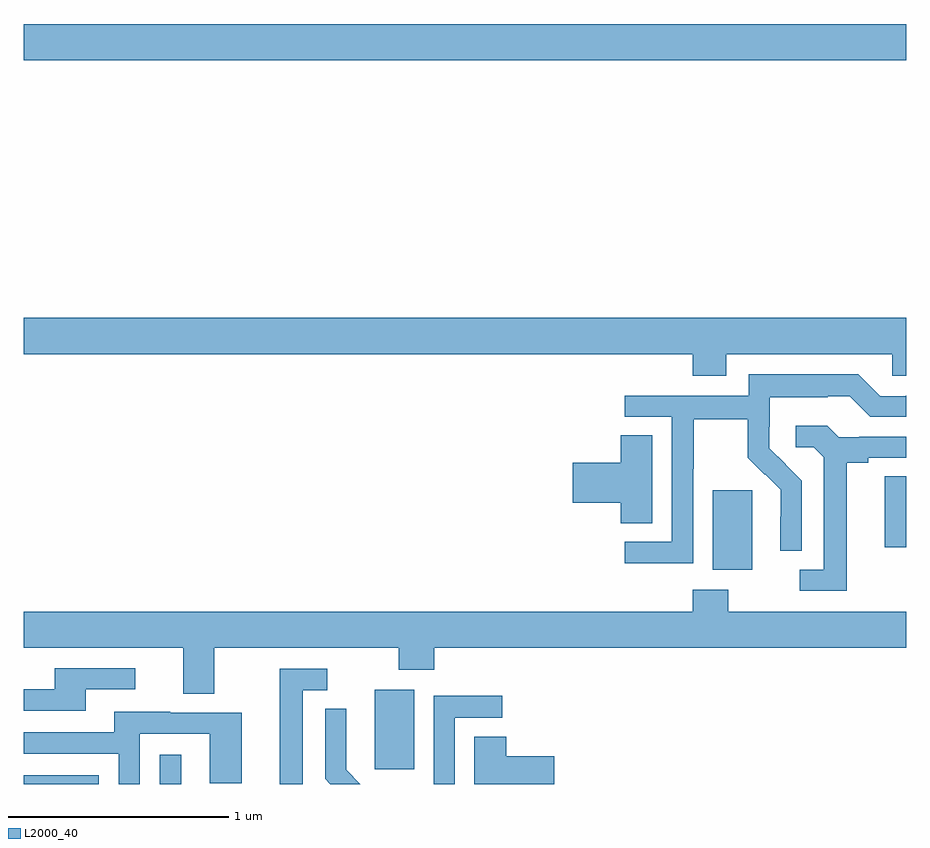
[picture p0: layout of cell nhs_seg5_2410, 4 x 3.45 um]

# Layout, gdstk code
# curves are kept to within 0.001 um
import gdstk
lib = gdstk.Library(unit=1e-6, precision=1e-09)
def R(c, l, rs):  # rectangles x0, y0, x1, y1
    for r in rs: c.add(gdstk.rectangle(r[:2], r[2:], *l))
def P(c, l, *ps):  # polygons
    for p in ps: c.add(gdstk.Polygon(p, *l))
L2000_40 = (2000, 40)

nhs_seg5_2410 = lib.new_cell('nhs_seg5_2410')
R(nhs_seg5_2410, L2000_40, [(251,866.799,251.34,866.838), (251.616,866.799,251.713,866.932), (252.59,866.865,252.769,867.226), (254.123,867.77,254.302,868.131), (254.903,867.873,255,868.193), (251,870.08,255,870.244)])
P(nhs_seg5_2410, L2000_40, [(254.185,868.748),(254.937,868.748),(254.937,868.65),(255,868.65),(255,868.912),(251,868.912),(251,868.748),(254.033,868.748),(254.033,868.649),(254.185,868.649)],
  [(254.034,868.228),(254.037,868.228),(254.037,868.452),(254.281,868.452),(254.281,868.277),(254.358,868.2),(254.361,868.203),(254.432,868.133),(254.432,868.01),(254.43,868.01),(254.43,867.856),(254.526,867.856),(254.526,868.174),(254.38,868.322),(254.38,868.419),(254.382,868.419),(254.382,868.553),(254.645,868.553),(254.645,868.557),(254.745,868.557),(254.838,868.464),(255,868.464),(255,868.56),(254.999,868.557),(254.883,868.557),(254.783,868.657),(254.286,868.657),(254.286,868.56),(253.725,868.56),(253.725,868.464),(253.938,868.464),(253.938,867.897),(253.725,867.897),(253.725,867.799),(254.034,867.799)],
  [(254.731,868.256),(254.827,868.256),(254.827,868.278),(255,868.278),(255,868.374),(254.788,868.374),(254.788,868.371),(254.694,868.371),(254.642,868.423),(254.499,868.423),(254.499,868.326),(254.58,868.326),(254.627,868.279),(254.627,867.771),(254.517,867.771),(254.517,867.675),(254.731,867.675)],
  [(253.849,868.379),(253.706,868.379),(253.706,868.256),(253.488,868.256),(253.488,868.073),(253.706,868.073),(253.706,867.982),(253.849,867.982)],
  [(251.863,867.416),(252.7,867.416),(252.7,867.317),(252.86,867.317),(252.86,867.416),(255,867.416),(255,867.58),(254.193,867.58),(254.193,867.679),(254.033,867.679),(254.033,867.58),(251,867.58),(251,867.416),(251.723,867.416),(251.723,867.208),(251.863,867.208)],
  [(251.281,867.228),(251.506,867.228),(251.506,867.324),(251.141,867.324),(251.141,867.228),(251,867.228),(251,867.132),(251.281,867.132)],
  [(252.265,867.225),(252.376,867.225),(252.376,867.321),(252.161,867.321),(252.161,866.799),(252.265,866.799)],
  [(252.954,867.099),(253.168,867.099),(253.168,867.198),(252.858,867.198),(252.858,866.799),(252.954,866.799)],
  [(252.461,866.864),(252.461,866.986),(252.462,866.986),(252.462,867.14),(252.366,867.14),(252.366,866.822),(252.389,866.799),(252.525,866.799)],
  [(251.526,867.027),(251.844,867.027),(251.844,866.803),(251.989,866.803),(251.989,867.123),(251.665,867.123),(251.665,867.127),(251.411,867.127),(251.411,867.033),(251,867.033),(251,866.937),(251.43,866.937),(251.43,866.799),(251.526,866.799)],
  [(253.405,866.924),(253.187,866.924),(253.187,867.014),(253.043,867.014),(253.043,866.799),(253.405,866.799)])

lib.write_gds('nhs_seg5_2410.gds')
